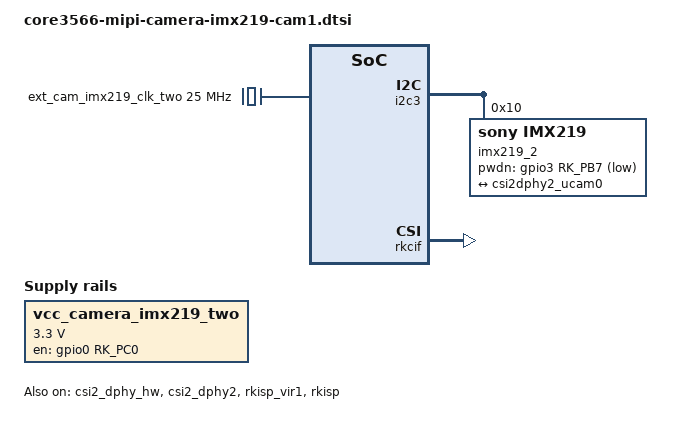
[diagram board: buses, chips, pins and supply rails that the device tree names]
// SPDX-License-Identifier: (GPL-2.0+ OR MIT)
/*
 * Copyright (c) 2023 luckfox technology Limited.
 */

/ {
	vcc_camera_imx219_two: vcc-camera-imx219-two {
		status = "okay";
		compatible = "regulator-fixed";
		regulator-name = "vcc_camera_imx219_two";
		gpio = <&gpio0 RK_PC0 GPIO_ACTIVE_HIGH>;
		enable-active-high;
		regulator-min-microvolt = <3300000>;
		regulator-max-microvolt = <3300000>;
		regulator-always-on;
		regulator-boot-on;
	};

	ext_cam_imx219_clk_two: external-camera-imx219-clock-two {
		compatible = "fixed-clock";
		clock-frequency = <25000000>;
		clock-output-names = "ext_cam_imx219_clk_two";
		#clock-cells = <0>;
	};
};

&i2c3 {
	status = "okay";
	pinctrl-0 = <&i2c3m1_xfer>;

	imx219_2: imx219-2@10 {
		status = "okay";
		compatible = "sony,imx219";
		reg = <0x10>;

		clocks = <&ext_cam_imx219_clk_two>;
		clock-names = "ext_cam_imx219_clk_two";
		pwdn-gpios = <&gpio3 RK_PB7 GPIO_ACTIVE_LOW>;

		rockchip,camera-module-index = <1>;
		rockchip,camera-module-name = "Waveshare";
		rockchip,camera-module-lens-name = "Picamera";
		rockchip,camera-module-facing = "front";

		port {
			imx219_2_out: endpoint {
				remote-endpoint = <&csi2dphy2_ucam0>;
				data-lanes = <1 2>;
			};
		};
	};
};

&csi2_dphy_hw {
	status = "okay";
};

&csi2_dphy2 {
	status = "okay";

	ports {
		#address-cells = <1>;
		#size-cells = <0>;

		port@0 {
			reg = <0>;
			#address-cells = <1>;
			#size-cells = <0>;

			csi2dphy2_ucam0: endpoint@1 {
				reg = <1>;
				remote-endpoint = <&imx219_2_out>;
				data-lanes = <1 2>;
			};
		};

		port@1 {
			reg = <1>;
			#address-cells = <1>;
			#size-cells = <0>;

			csi2dphy2_out: endpoint@1 {
				reg = <1>;
				remote-endpoint = <&isp1_in>;
			};
		};
	};
};

&rkisp_vir1 {
	status = "okay";
	#address-cells = <1>;
	#size-cells = <0>;

	port {
		reg = <0>;
		#address-cells = <1>;
		#size-cells = <0>;

		isp1_in: endpoint@0 {
			reg = <0>;
			remote-endpoint = <&csi2dphy2_out>;
		};
	};
};

&rkisp {
	status = "okay";
};

&rkisp_mmu {
	status = "okay";
};

&rkcif_mmu {
	status = "okay";
};

&rkcif {
	status = "okay";
};
